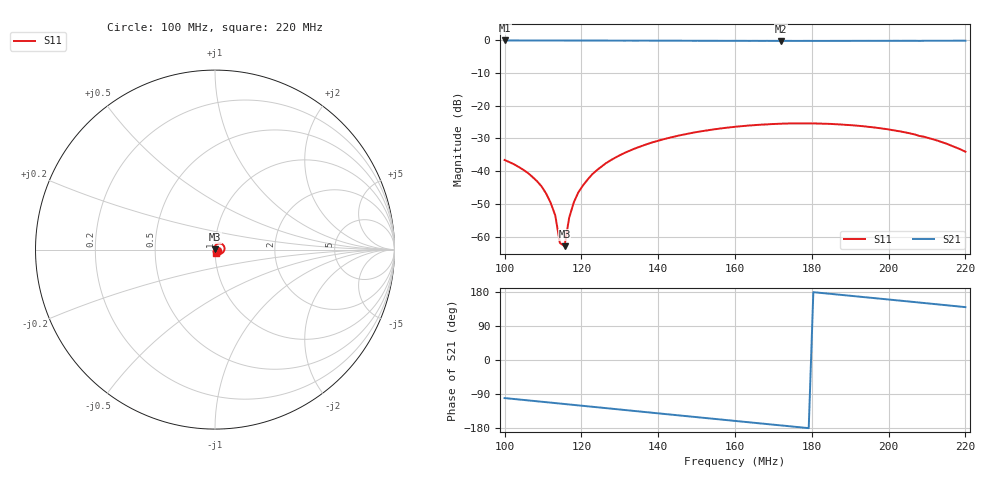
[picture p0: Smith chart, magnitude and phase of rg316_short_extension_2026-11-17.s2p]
# HZ S RI R 50
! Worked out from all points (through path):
!   101 points, 100 MHz to 220 MHz, reference 50 ohm
!   highest |S21| = -0.10 dB at 100 MHz (marker M1); lowest = -0.2 dB at 172 MHz (marker M2)
!   group delay of S21, straight-line fit = 2.77 ns
!   lowest |S11| = -62.8 dB at 115.6 MHz (marker M3), VSWR 1.00, Z = 50 + j0.0718 ohm
!   |S11| at or under -10 dB: start of sweep to end of sweep
!   S12 and S22 are empty: the file has one direction only
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1e8  0.0104 -0.0106  -0.18 -0.9715  0 0  0 0
1.06e8  0.00574 -0.00757  -0.2797 -0.9465  0 0  0 0
1.096e8  0.00325 -0.00493  -0.3386 -0.9264  0 0  0 0
1.12e8  0.00183 -0.00275  -0.3772 -0.9109  0 0  0 0
1.132e8  0.00122 -0.00173  -0.3963 -0.9026  0 0  0 0
1.144e8  0.000561 -0.00058  -0.4153 -0.894  0 0  0 0
1.156e8  7.08e-05 0.000718  -0.434 -0.8848  0 0  0 0
1.168e8  -0.000317 0.00192  -0.4524 -0.8753  0 0  0 0
1.18e8  -0.000749 0.00325  -0.4708 -0.8655  0 0  0 0
1.192e8  -0.00106 0.00466  -0.4889 -0.8551  0 0  0 0
1.204e8  -0.00128 0.00595  -0.5066 -0.8444  0 0  0 0
1.228e8  -0.00148 0.00886  -0.5417 -0.8219  0 0  0 0
1.276e8  -0.000783 0.0147  -0.6082 -0.7723  0 0  0 0
1.336e8  0.00203 0.0218  -0.6857 -0.7024  0 0  0 0
1.408e8  0.00836 0.029  -0.7673 -0.609  0 0  0 0
1.492e8  0.019 0.0339  -0.8459 -0.4894  0 0  0 0
1.6e8  0.0347 0.0327  -0.9214 -0.3218  0 0  0 0
1.72e8  0.0488 0.0212  -0.9642 -0.1239  0 0  0 0
1.804e8  0.0529 0.00836  -0.9723 0.0174  0 0  0 0
2.008e8  0.0373 -0.0207  -0.9102 0.3526  0 0  0 0
2.128e8  0.0164 -0.0242  -0.8186 0.5357  0 0  0 0
2.2e8  0.00376 -0.0195  -0.7447 0.6357  0 0  0 0
